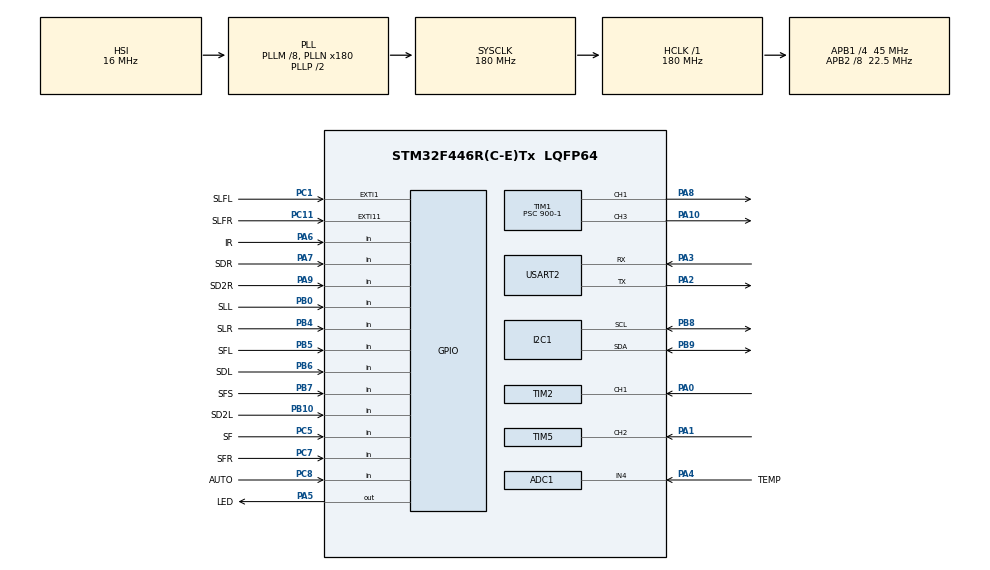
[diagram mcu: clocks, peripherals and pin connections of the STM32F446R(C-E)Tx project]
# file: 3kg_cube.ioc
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ADC1.Channel-2\#ChannelRegularConversion=ADC_CHANNEL_4
ADC1.ClockPrescaler=ADC_CLOCK_SYNC_PCLK_DIV8
ADC1.ContinuousConvMode=DISABLE
ADC1.NbrOfConversion=1
ADC1.NbrOfConversionFlag=1
ADC1.Rank-2\#ChannelRegularConversion=1
ADC1.SamplingTime-2\#ChannelRegularConversion=ADC_SAMPLETIME_3CYCLES
ADC1.master=1
I2C1.I2C_Mode=I2C_Fast
Mcu.Family=STM32F4
Mcu.Name=STM32F446R(C-E)Tx
Mcu.Package=LQFP64
NVIC.ADC_IRQn=true\:0\:0\:false\:false\:true\:true\:true\:true
NVIC.EXTI15_10_IRQn=true\:0\:0\:true\:false\:true\:true\:true\:true
NVIC.EXTI1_IRQn=true\:0\:0\:true\:false\:true\:true\:true\:true
NVIC.PriorityGroup=NVIC_PRIORITYGROUP_1
NVIC.TIM2_IRQn=true\:0\:1\:false\:false\:true\:true\:true\:true
NVIC.TIM5_IRQn=true\:0\:1\:false\:false\:true\:true\:true\:true
PA0-WKUP.Signal=S_TIM2_CH1_ETR
PA1.Signal=S_TIM5_CH2
PA10.Signal=S_TIM1_CH3
PA2.Mode=Asynchronous
PA2.Signal=USART2_TX
PA3.Mode=Asynchronous
PA3.Signal=USART2_RX
PA4.GPIO_Label=TEMP
PA4.Signal=ADCx_IN4
PA5.GPIO_Label=LED
PA5.PinState=GPIO_PIN_RESET
PA5.Signal=GPIO_Output
PA6.GPIO_Label=IR
PA6.Signal=GPIO_Input
PA7.GPIO_Label=SDR
PA7.GPIO_PuPd=GPIO_PULLUP
PA7.Signal=GPIO_Input
PA8.Signal=S_TIM1_CH1
PA9.GPIO_Label=SD2R
PA9.GPIO_PuPd=GPIO_PULLUP
PA9.Signal=GPIO_Input
PB0.GPIO_Label=SLL
PB0.GPIO_PuPd=GPIO_PULLUP
PB0.Signal=GPIO_Input
PB10.GPIO_Label=SD2L
PB10.GPIO_PuPd=GPIO_PULLUP
PB10.Signal=GPIO_Input
PB4.GPIO_Label=SLR
PB4.GPIO_PuPd=GPIO_PULLUP
PB4.Signal=GPIO_Input
PB5.GPIO_Label=SFL
PB5.GPIO_PuPd=GPIO_PULLUP
PB5.Signal=GPIO_Input
PB6.GPIO_Label=SDL
PB6.GPIO_PuPd=GPIO_PULLUP
PB6.Signal=GPIO_Input
PB7.GPIO_Label=SFS
PB7.GPIO_PuPd=GPIO_PULLUP
PB7.Signal=GPIO_Input
PB8.Mode=I2C
PB8.Signal=I2C1_SCL
PB9.Mode=I2C
PB9.Signal=I2C1_SDA
PC1.GPIO_Label=SLFL
PC1.GPIO_ModeDefaultEXTI=GPIO_MODE_IT_FALLING
PC1.GPIO_PuPd=GPIO_NOPULL
PC1.Signal=GPXTI1
PC11.GPIO_Label=SLFR
PC11.GPIO_ModeDefaultEXTI=GPIO_MODE_IT_FALLING
PC11.GPIO_PuPd=GPIO_NOPULL
PC11.Signal=GPXTI11
PC5.GPIO_Label=SF
PC5.GPIO_PuPd=GPIO_PULLUP
PC5.Signal=GPIO_Input
PC7.GPIO_Label=SFR
PC7.GPIO_PuPd=GPIO_PULLUP
PC7.Signal=GPIO_Input
PC8.GPIO_Label=AUTO
PC8.GPIO_PuPd=GPIO_PULLDOWN
PC8.Signal=GPIO_Input
PH0-OSC_IN.Mode=HSE-External-Clock-Source
PH0-OSC_IN.Signal=RCC_OSC_IN
PH1-OSC_OUT.Mode=HSE-External-Clock-Source
PH1-OSC_OUT.Signal=RCC_OSC_OUT
ProjectManager.HeapSize=0x200
ProjectManager.StackSize=0x400
ProjectManager.TargetToolchain=STM32CubeIDE
RCC.48MHZClocksFreq_Value=84000000
RCC.AHBFreq_Value=180000000
RCC.APB1CLKDivider=RCC_HCLK_DIV4
RCC.APB1Freq_Value=45000000
RCC.APB1TimFreq_Value=90000000
RCC.APB2CLKDivider=RCC_HCLK_DIV8
RCC.APB2Freq_Value=22500000
RCC.APB2TimFreq_Value=45000000
RCC.CortexFreq_Value=180000000
RCC.FLatency-AdvancedSettings=FLASH_LATENCY_5
RCC.HCLKFreq_Value=180000000
RCC.HSE_VALUE=8000000
RCC.HSI_VALUE=16000000
RCC.PLLM=8
RCC.PLLN=180
RCC.SYSCLKFreq_VALUE=180000000
RCC.SYSCLKSource=RCC_SYSCLKSOURCE_PLLCLK
RCC.USBFreq_Value=180000000
RCC.VCOOutputFreq_Value=360000000
SH.ADCx_IN4.0=ADC1_IN4,IN4
SH.S_TIM1_CH1.0=TIM1_CH1,PWM Generation1 CH1
SH.S_TIM1_CH3.0=TIM1_CH3,PWM Generation3 CH3
SH.S_TIM2_CH1_ETR.0=TIM2_CH1,PWM_Input_1
SH.S_TIM5_CH2.0=TIM5_CH2,PWM_Input_2
TIM1.Channel-PWM\ Generation1\ CH1=TIM_CHANNEL_1
TIM1.Channel-PWM\ Generation3\ CH3=TIM_CHANNEL_3
TIM1.Period=1000-1
TIM1.Prescaler=900-1
TIM2.Period=4294967295
TIM2.Prescaler=0
TIM5.ClockDivision=TIM_CLOCKDIVISION_DIV1
USART2.VirtualMode=VM_ASYNC
VP_TIM1_VS_ClockSourceINT.Mode=Internal
VP_TIM2_VS_ClockSourceINT.Mode=Internal
VP_TIM3_VS_ClockSourceINT.Mode=Internal
VP_TIM5_VS_ClockSourceINT.Mode=Internal
board=NUCLEO-F446RE

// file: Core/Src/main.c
/* USER CODE BEGIN Header */
/**
 ******************************************************************************
 * @file           : main.c
 * @brief          : Main program body
 ******************************************************************************
 * @attention
 *
 * Copyright (c) 2022 STMicroelectronics.
 * All rights reserved.
 *
 * This software is licensed under terms that can be found in the LICENSE file
 * in the root directory of this software component.
 * If no LICENSE file comes with this software, it is provided AS-IS.
 *
 ******************************************************************************
 */
/* USER CODE END Header */
#include "main.h"

/* USER CODE BEGIN Includes */
#include "basicFunctions.h"

/* USER CODE END Includes */

ADC_HandleTypeDef hadc1;

I2C_HandleTypeDef hi2c1;

TIM_HandleTypeDef htim1;
TIM_HandleTypeDef htim2;
TIM_HandleTypeDef htim3;
TIM_HandleTypeDef htim5;

UART_HandleTypeDef huart2;

void SystemClock_Config(void);
static void MX_GPIO_Init(void);
static void MX_TIM1_Init(void);
static void MX_USART2_UART_Init(void);
static void MX_I2C1_Init(void);
static void MX_TIM2_Init(void);
static void MX_TIM3_Init(void);
static void MX_TIM5_Init(void);
static void MX_ADC1_Init(void);
/* USER CODE BEGIN PFP */

//habilitar printf
#ifdef __GNUC__
#define PUTCHAR_PROTOTYPE int __io_putchar(int ch)
#else
#define PUTCHAR_PROTOTYPE int fputc(int ch, FILE *f)
#endif

PUTCHAR_PROTOTYPE {
	HAL_UART_Transmit(&huart2, (uint8_t*) &ch, 1, HAL_MAX_DELAY);
	return ch;
}

//habilitar printf
/* USER CODE END PFP */

int main(void) {

	/* MCU Configuration--------------------------------------------------------*/

	/* Reset of all peripherals, Initializes the Flash interface and the Systick. */
	HAL_Init();

	/* USER CODE BEGIN Init */
	//HAL_Delay(1000);
	/* USER CODE END Init */

	/* Configure the system clock */
	SystemClock_Config();

	/* Initialize all configured peripherals */
	MX_GPIO_Init();
	MX_TIM1_Init();
	MX_USART2_UART_Init();
	MX_I2C1_Init();
	MX_TIM2_Init();
	MX_TIM3_Init();
	MX_TIM5_Init();
	MX_ADC1_Init();
	/* USER CODE BEGIN 2 */
	HAL_TIM_Base_Init(&htim3);

	HAL_TIM_PWM_Start(&htim1, TIM_CHANNEL_1);
	HAL_TIM_PWM_Start(&htim1, TIM_CHANNEL_3);

	HAL_TIM_IC_Start_IT(&htim2, TIM_CHANNEL_1);   // main channel
	HAL_TIM_IC_Start(&htim2, TIM_CHANNEL_2);   // indirect channel
	HAL_TIM_IC_Start_IT(&htim5, TIM_CHANNEL_2);   // main channel
	HAL_TIM_IC_Start(&htim5, TIM_CHANNEL_1);   // indirect channel

	SSD1306_Init(); // initialize the display
	HAL_ADC_Start_IT(&hadc1);

	controlMotor(0, 0);
	//tempMax = (450 + rand() % 500) / 10;
	/* USER CODE END 2 */

	/* Infinite loop */
	/* USER CODE BEGIN WHILE */
	while (1) {
		//calibrateLinesensor();
		/*controlMotor(0, 0);
		 HAL_Delay(1000);
		 controlMotor(50, 50);
		 HAL_Delay(2000);
		 if (HAL_GPIO_ReadPin(GPIOC, AUTO_Pin)) {*/
		selectIniRoutine();
		SSD1306_Clear();
		HAL_GPIO_WritePin(GPIOA, LED_Pin, 0);
		while (!HAL_GPIO_ReadPin(GPIOA, IR_Pin)) {
			controlMotor(0, 0);
			readSensors();
			printSensors();
			HAL_GPIO_WritePin(GPIOA, LED_Pin, !HAL_GPIO_ReadPin(GPIOC, SF_Pin));
		}
		SSD1306_Clear();
		HAL_GPIO_WritePin(GPIOA, LED_Pin, 0);
		inicialMoviment();
		while (HAL_GPIO_ReadPin(GPIOA, IR_Pin)) {
			readSensors();
			//printSensors();
			basicSearch(100, 65, 80, 85);
		}
		HAL_GPIO_WritePin(GPIOA, LED_Pin, 1);
		controlMotor(0, 0);
		while (1) {
			controlMotor(0, 0);
			readSensors();
			printSensors();
		}
		//}
		/*else {
		 driveMotorsRC();
		 }*/

		/* USER CODE END WHILE */

	}
}

void SystemClock_Config(void) {
	RCC_OscInitTypeDef RCC_OscInitStruct = { 0 };
	RCC_ClkInitTypeDef RCC_ClkInitStruct = { 0 };

	/** Configure the main internal regulator output voltage
	 */
	__HAL_RCC_PWR_CLK_ENABLE();
	__HAL_PWR_VOLTAGESCALING_CONFIG(PWR_REGULATOR_VOLTAGE_SCALE1);

	/** Initializes the RCC Oscillators according to the specified parameters
	 * in the RCC_OscInitTypeDef structure.
	 */
	RCC_OscInitStruct.OscillatorType = RCC_OSCILLATORTYPE_HSI;
	RCC_OscInitStruct.HSIState = RCC_HSI_ON;
	RCC_OscInitStruct.HSICalibrationValue = RCC_HSICALIBRATION_DEFAULT;
	RCC_OscInitStruct.PLL.PLLState = RCC_PLL_ON;
	RCC_OscInitStruct.PLL.PLLSource = RCC_PLLSOURCE_HSI;
	RCC_OscInitStruct.PLL.PLLM = 8;
	RCC_OscInitStruct.PLL.PLLN = 180;
	RCC_OscInitStruct.PLL.PLLP = RCC_PLLP_DIV2;
	RCC_OscInitStruct.PLL.PLLQ = 2;
	RCC_OscInitStruct.PLL.PLLR = 2;
	if (HAL_RCC_OscConfig(&RCC_OscInitStruct) != HAL_OK) {
		Error_Handler();
	}

	/** Activate the Over-Drive mode
	 */
	if (HAL_PWREx_EnableOverDrive() != HAL_OK) {
		Error_Handler();
	}

	/** Initializes the CPU, AHB and APB buses clocks
	 */
	RCC_ClkInitStruct.ClockType = RCC_CLOCKTYPE_HCLK | RCC_CLOCKTYPE_SYSCLK
			| RCC_CLOCKTYPE_PCLK1 | RCC_CLOCKTYPE_PCLK2;
	RCC_ClkInitStruct.SYSCLKSource = RCC_SYSCLKSOURCE_PLLCLK;
	RCC_ClkInitStruct.AHBCLKDivider = RCC_SYSCLK_DIV1;
	RCC_ClkInitStruct.APB1CLKDivider = RCC_HCLK_DIV4;
	RCC_ClkInitStruct.APB2CLKDivider = RCC_HCLK_DIV8;

	if (HAL_RCC_ClockConfig(&RCC_ClkInitStruct, FLASH_LATENCY_5) != HAL_OK) {
		Error_Handler();
	}
}

static void MX_ADC1_Init(void) {

	ADC_ChannelConfTypeDef sConfig = { 0 };

	/** Configure the global features of the ADC (Clock, Resolution, Data Alignment and number of conversion)
	 */
	hadc1.Instance = ADC1;
	hadc1.Init.ClockPrescaler = ADC_CLOCK_SYNC_PCLK_DIV8;
	hadc1.Init.Resolution = ADC_RESOLUTION_12B;
	hadc1.Init.ScanConvMode = DISABLE;
	hadc1.Init.ContinuousConvMode = DISABLE;
	hadc1.Init.DiscontinuousConvMode = DISABLE;
	hadc1.Init.ExternalTrigConvEdge = ADC_EXTERNALTRIGCONVEDGE_NONE;
	hadc1.Init.ExternalTrigConv = ADC_SOFTWARE_START;
	hadc1.Init.DataAlign = ADC_DATAALIGN_RIGHT;
	hadc1.Init.NbrOfConversion = 1;
	hadc1.Init.DMAContinuousRequests = DISABLE;
	hadc1.Init.EOCSelection = ADC_EOC_SINGLE_CONV;
	if (HAL_ADC_Init(&hadc1) != HAL_OK) {
		Error_Handler();
	}

	/** Configure for the selected ADC regular channel its corresponding rank in the sequencer and its sample time.
	 */
	sConfig.Channel = ADC_CHANNEL_4;
	sConfig.Rank = 1;
	sConfig.SamplingTime = ADC_SAMPLETIME_3CYCLES;
	if (HAL_ADC_ConfigChannel(&hadc1, &sConfig) != HAL_OK) {
		Error_Handler();
	}

}

static void MX_I2C1_Init(void) {

	hi2c1.Instance = I2C1;
	hi2c1.Init.ClockSpeed = 400000;
	hi2c1.Init.DutyCycle = I2C_DUTYCYCLE_2;
	hi2c1.Init.OwnAddress1 = 0;
	hi2c1.Init.AddressingMode = I2C_ADDRESSINGMODE_7BIT;
	hi2c1.Init.DualAddressMode = I2C_DUALADDRESS_DISABLE;
	hi2c1.Init.OwnAddress2 = 0;
	hi2c1.Init.GeneralCallMode = I2C_GENERALCALL_DISABLE;
	hi2c1.Init.NoStretchMode = I2C_NOSTRETCH_DISABLE;
	if (HAL_I2C_Init(&hi2c1) != HAL_OK) {
		Error_Handler();
	}

}

static void MX_TIM1_Init(void) {

	TIM_ClockConfigTypeDef sClockSourceConfig = { 0 };
	TIM_MasterConfigTypeDef sMasterConfig = { 0 };
	TIM_OC_InitTypeDef sConfigOC = { 0 };
	TIM_BreakDeadTimeConfigTypeDef sBreakDeadTimeConfig = { 0 };

	htim1.Instance = TIM1;
	htim1.Init.Prescaler = 900 - 1;
	htim1.Init.CounterMode = TIM_COUNTERMODE_UP;
	htim1.Init.Period = 1000 - 1;
	htim1.Init.ClockDivision = TIM_CLOCKDIVISION_DIV1;
	htim1.Init.RepetitionCounter = 0;
	htim1.Init.AutoReloadPreload = TIM_AUTORELOAD_PRELOAD_DISABLE;
	if (HAL_TIM_Base_Init(&htim1) != HAL_OK) {
		Error_Handler();
	}
	sClockSourceConfig.ClockSource = TIM_CLOCKSOURCE_INTERNAL;
	if (HAL_TIM_ConfigClockSource(&htim1, &sClockSourceConfig) != HAL_OK) {
		Error_Handler();
	}
	if (HAL_TIM_PWM_Init(&htim1) != HAL_OK) {
		Error_Handler();
	}
	sMasterConfig.MasterOutputTrigger = TIM_TRGO_RESET;
	sMasterConfig.MasterSlaveMode = TIM_MASTERSLAVEMODE_DISABLE;
	if (HAL_TIMEx_MasterConfigSynchronization(&htim1, &sMasterConfig)
			!= HAL_OK) {
		Error_Handler();
	}
	sConfigOC.OCMode = TIM_OCMODE_PWM1;
	sConfigOC.Pulse = 0;
	sConfigOC.OCPolarity = TIM_OCPOLARITY_HIGH;
	sConfigOC.OCNPolarity = TIM_OCNPOLARITY_HIGH;
	sConfigOC.OCFastMode = TIM_OCFAST_DISABLE;
	sConfigOC.OCIdleState = TIM_OCIDLESTATE_RESET;
	sConfigOC.OCNIdleState = TIM_OCNIDLESTATE_RESET;
	if (HAL_TIM_PWM_ConfigChannel(&htim1, &sConfigOC, TIM_CHANNEL_1)
			!= HAL_OK) {
		Error_Handler();
	}
	if (HAL_TIM_PWM_ConfigChannel(&htim1, &sConfigOC, TIM_CHANNEL_3)
			!= HAL_OK) {
		Error_Handler();
	}
	sBreakDeadTimeConfig.OffStateRunMode = TIM_OSSR_DISABLE;
	sBreakDeadTimeConfig.OffStateIDLEMode = TIM_OSSI_DISABLE;
	sBreakDeadTimeConfig.LockLevel = TIM_LOCKLEVEL_OFF;
	sBreakDeadTimeConfig.DeadTime = 0;
	sBreakDeadTimeConfig.BreakState = TIM_BREAK_DISABLE;
	sBreakDeadTimeConfig.BreakPolarity = TIM_BREAKPOLARITY_HIGH;
	sBreakDeadTimeConfig.AutomaticOutput = TIM_AUTOMATICOUTPUT_DISABLE;
	if (HAL_TIMEx_ConfigBreakDeadTime(&htim1, &sBreakDeadTimeConfig)
			!= HAL_OK) {
		Error_Handler();
	}
	HAL_TIM_MspPostInit(&htim1);

}

static void MX_TIM2_Init(void) {

	TIM_ClockConfigTypeDef sClockSourceConfig = { 0 };
	TIM_SlaveConfigTypeDef sSlaveConfig = { 0 };
	TIM_IC_InitTypeDef sConfigIC = { 0 };
	TIM_MasterConfigTypeDef sMasterConfig = { 0 };

	htim2.Instance = TIM2;
	htim2.Init.Prescaler = 0;
	htim2.Init.CounterMode = TIM_COUNTERMODE_UP;
	htim2.Init.Period = 4294967295;
	htim2.Init.ClockDivision = TIM_CLOCKDIVISION_DIV1;
	htim2.Init.AutoReloadPreload = TIM_AUTORELOAD_PRELOAD_DISABLE;
	if (HAL_TIM_Base_Init(&htim2) != HAL_OK) {
		Error_Handler();
	}
	sClockSourceConfig.ClockSource = TIM_CLOCKSOURCE_INTERNAL;
	if (HAL_TIM_ConfigClockSource(&htim2, &sClockSourceConfig) != HAL_OK) {
		Error_Handler();
	}
	if (HAL_TIM_IC_Init(&htim2) != HAL_OK) {
		Error_Handler();
	}
	sSlaveConfig.SlaveMode = TIM_SLAVEMODE_RESET;
	sSlaveConfig.InputTrigger = TIM_TS_TI1FP1;
	sSlaveConfig.TriggerPolarity = TIM_INPUTCHANNELPOLARITY_RISING;
	sSlaveConfig.TriggerPrescaler = TIM_ICPSC_DIV1;
	sSlaveConfig.TriggerFilter = 0;
	if (HAL_TIM_SlaveConfigSynchro(&htim2, &sSlaveConfig) != HAL_OK) {
		Error_Handler();
	}
	sConfigIC.ICPolarity = TIM_INPUTCHANNELPOLARITY_RISING;
	sConfigIC.ICSelection = TIM_ICSELECTION_DIRECTTI;
	sConfigIC.ICPrescaler = TIM_ICPSC_DIV1;
	sConfigIC.ICFilter = 0;
	if (HAL_TIM_IC_ConfigChannel(&htim2, &sConfigIC, TIM_CHANNEL_1) != HAL_OK) {
		Error_Handler();
	}
	sConfigIC.ICPolarity = TIM_INPUTCHANNELPOLARITY_FALLING;
	sConfigIC.ICSelection = TIM_ICSELECTION_INDIRECTTI;
	if (HAL_TIM_IC_ConfigChannel(&htim2, &sConfigIC, TIM_CHANNEL_2) != HAL_OK) {
		Error_Handler();
	}
	sMasterConfig.MasterOutputTrigger = TIM_TRGO_RESET;
	sMasterConfig.MasterSlaveMode = TIM_MASTERSLAVEMODE_DISABLE;
	if (HAL_TIMEx_MasterConfigSynchronization(&htim2, &sMasterConfig)
			!= HAL_OK) {
		Error_Handler();
	}

}

static void MX_TIM3_Init(void) {

	TIM_ClockConfigTypeDef sClockSourceConfig = { 0 };
	TIM_MasterConfigTypeDef sMasterConfig = { 0 };

	htim3.Instance = TIM3;
	htim3.Init.Prescaler = 0;
	htim3.Init.CounterMode = TIM_COUNTERMODE_UP;
	htim3.Init.Period = 65535;
	htim3.Init.ClockDivision = TIM_CLOCKDIVISION_DIV1;
	htim3.Init.AutoReloadPreload = TIM_AUTORELOAD_PRELOAD_DISABLE;
	if (HAL_TIM_Base_Init(&htim3) != HAL_OK) {
		Error_Handler();
	}
	sClockSourceConfig.ClockSource = TIM_CLOCKSOURCE_INTERNAL;
	if (HAL_TIM_ConfigClockSource(&htim3, &sClockSourceConfig) != HAL_OK) {
		Error_Handler();
	}
	sMasterConfig.MasterOutputTrigger = TIM_TRGO_RESET;
	sMasterConfig.MasterSlaveMode = TIM_MASTERSLAVEMODE_DISABLE;
	if (HAL_TIMEx_MasterConfigSynchronization(&htim3, &sMasterConfig)
			!= HAL_OK) {
		Error_Handler();
	}

}

static void MX_TIM5_Init(void) {

	TIM_ClockConfigTypeDef sClockSourceConfig = { 0 };
	TIM_SlaveConfigTypeDef sSlaveConfig = { 0 };
	TIM_IC_InitTypeDef sConfigIC = { 0 };
	TIM_MasterConfigTypeDef sMasterConfig = { 0 };

	htim5.Instance = TIM5;
	htim5.Init.Prescaler = 0;
	htim5.Init.CounterMode = TIM_COUNTERMODE_UP;
	htim5.Init.Period = 4294967295;
	htim5.Init.ClockDivision = TIM_CLOCKDIVISION_DIV1;
	htim5.Init.AutoReloadPreload = TIM_AUTORELOAD_PRELOAD_DISABLE;
	if (HAL_TIM_Base_Init(&htim5) != HAL_OK) {
		Error_Handler();
	}
	sClockSourceConfig.ClockSource = TIM_CLOCKSOURCE_INTERNAL;
	if (HAL_TIM_ConfigClockSource(&htim5, &sClockSourceConfig) != HAL_OK) {
		Error_Handler();
	}
	if (HAL_TIM_IC_Init(&htim5) != HAL_OK) {
		Error_Handler();
	}
	sSlaveConfig.SlaveMode = TIM_SLAVEMODE_RESET;
	sSlaveConfig.InputTrigger = TIM_TS_TI2FP2;
	sSlaveConfig.TriggerPolarity = TIM_INPUTCHANNELPOLARITY_FALLING;
	sSlaveConfig.TriggerPrescaler = TIM_ICPSC_DIV1;
	sSlaveConfig.TriggerFilter = 0;
	if (HAL_TIM_SlaveConfigSynchro(&htim5, &sSlaveConfig) != HAL_OK) {
		Error_Handler();
	}
	sConfigIC.ICPolarity = TIM_INPUTCHANNELPOLARITY_RISING;
	sConfigIC.ICSelection = TIM_ICSELECTION_INDIRECTTI;
	sConfigIC.ICPrescaler = TIM_ICPSC_DIV1;
	sConfigIC.ICFilter = 0;
	if (HAL_TIM_IC_ConfigChannel(&htim5, &sConfigIC, TIM_CHANNEL_1) != HAL_OK) {
		Error_Handler();
	}
	sConfigIC.ICPolarity = TIM_INPUTCHANNELPOLARITY_FALLING;
	sConfigIC.ICSelection = TIM_ICSELECTION_DIRECTTI;
	if (HAL_TIM_IC_ConfigChannel(&htim5, &sConfigIC, TIM_CHANNEL_2) != HAL_OK) {
		Error_Handler();
	}
	sMasterConfig.MasterOutputTrigger = TIM_TRGO_RESET;
	sMasterConfig.MasterSlaveMode = TIM_MASTERSLAVEMODE_DISABLE;
	if (HAL_TIMEx_MasterConfigSynchronization(&htim5, &sMasterConfig)
			!= HAL_OK) {
		Error_Handler();
	}

}

static void MX_USART2_UART_Init(void) {

	huart2.Instance = USART2;
	huart2.Init.BaudRate = 115200;
	huart2.Init.WordLength = UART_WORDLENGTH_8B;
	huart2.Init.StopBits = UART_STOPBITS_1;
	huart2.Init.Parity = UART_PARITY_NONE;
	huart2.Init.Mode = UART_MODE_TX_RX;
	huart2.Init.HwFlowCtl = UART_HWCONTROL_NONE;
	huart2.Init.OverSampling = UART_OVERSAMPLING_16;
	if (HAL_UART_Init(&huart2) != HAL_OK) {
		Error_Handler();
	}

}

static void MX_GPIO_Init(void) {
	GPIO_InitTypeDef GPIO_InitStruct = { 0 };

	/* GPIO Ports Clock Enable */
	__HAL_RCC_GPIOH_CLK_ENABLE();
	__HAL_RCC_GPIOC_CLK_ENABLE();
	__HAL_RCC_GPIOA_CLK_ENABLE();
	__HAL_RCC_GPIOB_CLK_ENABLE();

	/*Configure GPIO pin Output Level */
	HAL_GPIO_WritePin(LED_GPIO_Port, LED_Pin, GPIO_PIN_RESET);

	/*Configure GPIO pins : SLFL_Pin SLFR_Pin */
	GPIO_InitStruct.Pin = SLFL_Pin | SLFR_Pin;
	GPIO_InitStruct.Mode = GPIO_MODE_IT_FALLING;
	GPIO_InitStruct.Pull = GPIO_NOPULL;
	HAL_GPIO_Init(GPIOC, &GPIO_InitStruct);

	/*Configure GPIO pin : LED_Pin */
	GPIO_InitStruct.Pin = LED_Pin;
	GPIO_InitStruct.Mode = GPIO_MODE_OUTPUT_PP;
	GPIO_InitStruct.Pull = GPIO_NOPULL;
	GPIO_InitStruct.Speed = GPIO_SPEED_FREQ_LOW;
	HAL_GPIO_Init(LED_GPIO_Port, &GPIO_InitStruct);

	/*Configure GPIO pin : IR_Pin */
	GPIO_InitStruct.Pin = IR_Pin;
	GPIO_InitStruct.Mode = GPIO_MODE_INPUT;
	GPIO_InitStruct.Pull = GPIO_NOPULL;
	HAL_GPIO_Init(IR_GPIO_Port, &GPIO_InitStruct);

	/*Configure GPIO pins : SDR_Pin SD2R_Pin */
	GPIO_InitStruct.Pin = SDR_Pin | SD2R_Pin;
	GPIO_InitStruct.Mode = GPIO_MODE_INPUT;
	GPIO_InitStruct.Pull = GPIO_PULLUP;
	HAL_GPIO_Init(GPIOA, &GPIO_InitStruct);

	/*Configure GPIO pins : SF_Pin SFR_Pin */
	GPIO_InitStruct.Pin = SF_Pin | SFR_Pin;
	GPIO_InitStruct.Mode = GPIO_MODE_INPUT;
	GPIO_InitStruct.Pull = GPIO_PULLUP;
	HAL_GPIO_Init(GPIOC, &GPIO_InitStruct);

	/*Configure GPIO pins : SLL_Pin SD2L_Pin SLR_Pin SFL_Pin
	 SDL_Pin SFS_Pin */
	GPIO_InitStruct.Pin = SLL_Pin | SD2L_Pin | SLR_Pin | SFL_Pin | SDL_Pin
			| SFS_Pin;
	GPIO_InitStruct.Mode = GPIO_MODE_INPUT;
	GPIO_InitStruct.Pull = GPIO_PULLUP;
	HAL_GPIO_Init(GPIOB, &GPIO_InitStruct);

	/*Configure GPIO pin : AUTO_Pin */
	GPIO_InitStruct.Pin = AUTO_Pin;
	GPIO_InitStruct.Mode = GPIO_MODE_INPUT;
	GPIO_InitStruct.Pull = GPIO_PULLDOWN;
	HAL_GPIO_Init(AUTO_GPIO_Port, &GPIO_InitStruct);

	/* EXTI interrupt init*/
	HAL_NVIC_SetPriority(EXTI1_IRQn, 0, 0);
	HAL_NVIC_EnableIRQ(EXTI1_IRQn);

	HAL_NVIC_SetPriority(EXTI15_10_IRQn, 0, 0);
	HAL_NVIC_EnableIRQ(EXTI15_10_IRQn);

}

void Error_Handler(void) {
	__disable_irq();
	while (1) {
	}
}
